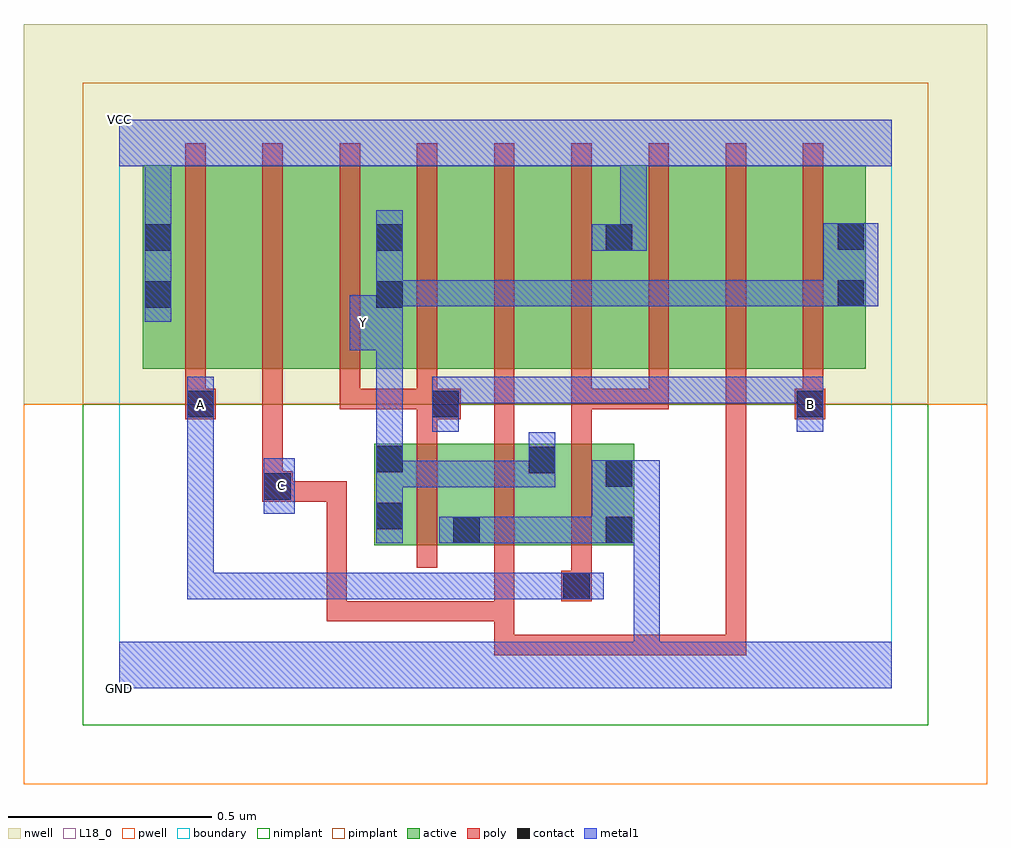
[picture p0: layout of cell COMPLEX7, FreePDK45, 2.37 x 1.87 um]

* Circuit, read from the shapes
.subckt COMPLEX7 A B C GND VCC Y
M1 GND B Y VSUBS nfet w=0.25u l=0.05u
M2 Y C GND VSUBS nfet w=0.25u l=0.05u
M3 GND A Y VSUBS nfet w=0.25u l=0.05u
M4 n1 A VCC n2 pfet w=0.5u l=0.05u
M5 n3 C n1 n2 pfet w=0.5u l=0.05u
M6 Y B n3 n2 pfet w=0.5u l=0.05u
M7 n4 B Y n2 pfet w=0.5u l=0.05u
M8 n5 C n4 n2 pfet w=0.5u l=0.05u
M9 VCC A n5 n2 pfet w=0.5u l=0.05u
M10 n6 A VCC n2 pfet w=0.5u l=0.05u
M11 n7 C n6 n2 pfet w=0.5u l=0.05u
M12 Y B n7 n2 pfet w=0.5u l=0.05u
.ends

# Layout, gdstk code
import gdstk
lib = gdstk.Library(unit=1e-6, precision=1e-09)
def R(c, l, rs):  # rectangles x0, y0, x1, y1
    for r in rs: c.add(gdstk.rectangle(r[:2], r[2:], *l))
def A(c, l, x, y, w, h, nx, ny, dx, dy):  # array of equal rectangles
    R(c, l, [(x+i*dx, y+j*dy, x+i*dx+w, y+j*dy+h) for i in range(nx) for j in range(ny)])
active = (1, 0)
pwell = (2, 0)
nwell = (3, 0)
nimplant = (4, 0)
pimplant = (5, 0)
poly = (9, 0)
contact = (10, 0)
metal1 = (11, 0)
L18_0 = (18, 0)
boundary = (235, 0)

complex7 = lib.new_cell('COMPLEX7')
A(complex7, active, 0.282, 0.787, 0.19, 0.5, 3, 1, 0.57, 0)
R(complex7, active, [(0.627,0.352,0.892,0.602), (0.817,0.352,1.077,0.602), (0.817,0.352,0.892,0.497), (1.002,0.352,1.267,0.602), (1.192,0.352,1.267,0.602), (0.627,0.382,0.702,0.602), (1.002,0.395,1.077,0.6), (0.057,0.787,0.282,1.287), (0.057,0.787,0.132,1.255), (0.472,0.787,0.702,1.287), (0.627,0.787,0.852,1.287), (1.042,0.787,1.267,1.287), (1.192,0.787,1.422,1.287), (1.612,0.787,1.837,1.287), (1.762,0.787,1.837,1.2), (0.627,0.807,0.702,1.2), (1.192,0.807,1.267,1.255)])
R(complex7, pwell, [(-0.235,-0.235,2.135,0.7)])
R(complex7, nwell, [(-0.235,0.7,2.135,1.635)])
R(complex7, nimplant, [(-0.09,-0.09,1.99,0.7)])
R(complex7, pimplant, [(-0.09,0.7,1.99,1.49)])
A(complex7, poly, 0.732, 0.297, 0.05, 0.36, 3, 1, 0.19, 0)
A(complex7, poly, 0.542, 0.687, 0.05, 0.095, 5, 1, 0.19, 0)
A(complex7, poly, 0.922, 0.687, 0.05, 0.05, 3, 1, 0.19, 0)
A(complex7, poly, 0.162, 0.732, 0.05, 0.61, 9, 1, 0.19, 0)
R(complex7, poly, [(0.922,0.082,0.972,0.132), (0.922,0.082,1.087,0.132), (0.922,0.082,0.972,0.215), (1.037,0.082,1.087,0.132), (1.037,0.082,1.22,0.132), (1.17,0.082,1.22,0.132), (1.17,0.082,1.22,0.132), (1.17,0.082,1.22,0.132), (1.17,0.082,1.352,0.132), (1.302,0.082,1.352,0.132), (1.302,0.082,1.352,0.132), (1.302,0.082,1.352,0.132), (1.302,0.082,1.352,0.132), (1.302,0.082,1.352,0.132), (1.302,0.082,1.542,0.132), (1.492,0.082,1.542,0.782), (1.492,0.082,1.542,0.132), (1.492,0.082,1.542,0.132), (1.492,0.082,1.542,0.132), (1.492,0.082,1.542,0.132), (1.492,0.082,1.542,0.132), (1.492,0.082,1.542,0.132), (1.492,0.082,1.542,0.132), (0.51,0.165,0.56,0.215), (0.51,0.165,0.56,0.215), (0.51,0.165,0.56,0.215), (0.51,0.165,0.84,0.215), (0.51,0.165,0.56,0.51), (0.79,0.165,0.84,0.215), (0.79,0.165,0.84,0.215), (0.79,0.165,0.84,0.215), (0.79,0.165,0.972,0.215), (0.922,0.165,0.972,0.215), (0.922,0.165,0.972,0.347), (1.087,0.215,1.162,0.29), (1.112,0.24,1.162,0.347), (0.352,0.46,0.427,0.535), (0.377,0.46,0.427,0.51), (0.377,0.46,0.427,0.51), (0.377,0.46,0.427,0.51), (0.377,0.46,0.427,0.51), (0.377,0.46,0.427,0.51), (0.377,0.46,0.427,0.51), (0.377,0.46,0.56,0.51), (0.51,0.46,0.56,0.51), (0.352,0.485,0.402,0.782), (0.732,0.607,0.782,0.712), (0.922,0.607,0.972,0.737), (1.112,0.607,1.162,0.737), (0.162,0.662,0.237,0.737), (0.732,0.662,0.84,0.737), (1.662,0.662,1.737,0.737), (0.162,0.687,0.212,0.782), (0.542,0.687,0.592,0.737), (0.542,0.687,0.592,0.737), (0.542,0.687,0.592,0.737), (0.542,0.687,0.782,0.737), (1.112,0.687,1.352,0.737), (1.302,0.687,1.352,0.737), (1.302,0.687,1.352,0.737), (1.682,0.687,1.732,0.782)])
R(complex7, contact, [(1.092,0.22,1.157,0.285), (0.822,0.357,0.887,0.422), (1.197,0.357,1.262,0.422), (0.632,0.392,0.697,0.457), (0.357,0.465,0.422,0.53), (1.197,0.497,1.262,0.562), (1.007,0.53,1.072,0.595), (0.632,0.532,0.697,0.597), (0.167,0.667,0.232,0.732), (0.77,0.667,0.835,0.732), (1.667,0.667,1.732,0.732), (0.062,0.937,0.127,1.002), (0.632,0.937,0.697,1.002), (1.767,0.94,1.832,1.005), (0.062,1.077,0.127,1.142), (0.632,1.077,0.697,1.142), (1.197,1.077,1.262,1.142), (1.767,1.08,1.832,1.145)])
R(complex7, metal1, [(0,0,1.9,0.115), (1.265,0.05,1.33,0.422), (0.167,0.22,0.232,0.285), (0.167,0.22,0.422,0.285), (0.167,0.22,0.232,0.697), (0.357,0.22,0.422,0.285), (0.357,0.22,0.422,0.285), (0.357,0.22,0.422,0.285), (0.357,0.22,0.422,0.285), (0.357,0.22,0.422,0.285), (0.357,0.22,0.56,0.285), (0.495,0.22,0.56,0.285), (0.495,0.22,0.56,0.285), (0.495,0.22,0.56,0.285), (0.495,0.22,0.56,0.285), (0.495,0.22,0.56,0.285), (0.495,0.22,0.835,0.285), (0.77,0.22,0.835,0.285), (0.77,0.22,0.835,0.285), (0.77,0.22,0.835,0.285), (0.77,0.22,0.972,0.285), (0.907,0.22,0.972,0.285), (0.907,0.22,1.072,0.285), (1.007,0.22,1.072,0.285), (1.007,0.22,1.122,0.285), (1.057,0.22,1.192,0.285), (0.632,0.357,0.697,0.632), (0.787,0.357,0.922,0.422), (0.857,0.357,0.985,0.422), (0.92,0.357,0.985,0.422), (0.92,0.357,1.072,0.422), (1.007,0.357,1.072,0.422), (1.007,0.357,1.227,0.422), (1.162,0.357,1.227,0.422), (1.162,0.357,1.227,0.422), (1.162,0.357,1.33,0.562), (1.265,0.357,1.33,0.422), (1.265,0.357,1.33,0.422), (1.265,0.357,1.33,0.422), (1.265,0.357,1.33,0.422), (1.265,0.357,1.33,0.422), (1.265,0.357,1.33,0.422), (0.355,0.43,0.432,0.567), (0.632,0.495,0.697,0.56), (0.632,0.495,0.697,0.56), (0.632,0.495,0.935,0.56), (0.87,0.495,0.935,0.56), (0.87,0.495,0.985,0.56), (0.92,0.495,0.985,0.56), (0.92,0.495,1.072,0.56), (1.007,0.495,1.072,0.63), (0.632,0.567,0.697,0.897), (0.167,0.632,0.232,0.697), (0.167,0.632,0.232,0.697), (0.167,0.632,0.232,0.767), (0.77,0.632,0.835,0.767), (1.667,0.632,1.732,0.767), (0.77,0.702,0.935,0.767), (0.87,0.702,0.935,0.767), (0.87,0.702,0.972,0.767), (0.907,0.702,0.972,0.767), (0.907,0.702,1.072,0.767), (1.007,0.702,1.072,0.767), (1.007,0.702,1.122,0.767), (1.057,0.702,1.122,0.767), (1.057,0.702,1.365,0.767), (1.3,0.702,1.365,0.767), (1.3,0.702,1.365,0.767), (1.3,0.702,1.365,0.767), (1.3,0.702,1.522,0.767), (1.457,0.702,1.522,0.767), (1.457,0.702,1.522,0.767), (1.457,0.702,1.522,0.767), (1.457,0.702,1.66,0.767), (1.595,0.702,1.66,0.767), (1.595,0.702,1.732,0.767), (0.567,0.832,0.697,0.967), (0.062,0.902,0.127,1.177), (0.632,0.902,0.697,0.967), (0.632,0.902,0.697,1.177), (0.632,0.94,0.835,1.005), (0.77,0.94,0.835,1.005), (0.77,0.94,0.835,1.005), (0.77,0.94,0.835,1.005), (0.77,0.94,0.985,1.005), (0.92,0.94,0.985,1.005), (0.92,0.94,1.072,1.005), (1.007,0.94,1.072,1.005), (1.007,0.94,1.227,1.005), (1.162,0.94,1.227,1.005), (1.162,0.94,1.385,1.005), (1.32,0.94,1.385,1.005), (1.32,0.94,1.385,1.005), (1.32,0.94,1.385,1.005), (1.32,0.94,1.522,1.005), (1.457,0.94,1.522,1.005), (1.457,0.94,1.522,1.005), (1.457,0.94,1.522,1.005), (1.457,0.94,1.66,1.005), (1.595,0.94,1.66,1.005), (1.595,0.94,1.797,1.005), (1.732,0.94,1.797,1.005), (1.732,0.94,1.797,1.005), (1.732,0.94,1.867,1.145), (1.162,1.077,1.297,1.142), (1.232,1.077,1.297,1.35), (0.062,1.112,0.127,1.35), (0,1.285,1.9,1.4)])
R(complex7, L18_0, [(0,0,1.9,0.115), (1.265,0.05,1.33,0.422), (0.167,0.22,0.232,0.285), (0.167,0.22,0.232,0.697), (0.167,0.22,0.422,0.285), (0.357,0.22,0.422,0.285), (0.357,0.22,0.422,0.285), (0.357,0.22,0.422,0.285), (0.357,0.22,0.422,0.285), (0.357,0.22,0.422,0.285), (0.357,0.22,0.56,0.285), (0.495,0.22,0.56,0.285), (0.495,0.22,0.56,0.285), (0.495,0.22,0.56,0.285), (0.495,0.22,0.56,0.285), (0.495,0.22,0.56,0.285), (0.495,0.22,0.835,0.285), (0.77,0.22,0.835,0.285), (0.77,0.22,0.835,0.285), (0.77,0.22,0.835,0.285), (0.77,0.22,0.972,0.285), (0.907,0.22,0.972,0.285), (0.907,0.22,1.072,0.285), (1.007,0.22,1.072,0.285), (1.007,0.22,1.122,0.285), (1.057,0.22,1.192,0.285), (0.632,0.357,0.697,0.632), (0.787,0.357,0.922,0.422), (0.857,0.357,0.985,0.422), (0.92,0.357,0.985,0.422), (0.92,0.357,1.072,0.422), (1.007,0.357,1.072,0.422), (1.007,0.357,1.227,0.422), (1.162,0.357,1.227,0.422), (1.162,0.357,1.227,0.422), (1.162,0.357,1.33,0.562), (1.265,0.357,1.33,0.422), (1.265,0.357,1.33,0.422), (1.265,0.357,1.33,0.422), (1.265,0.357,1.33,0.422), (1.265,0.357,1.33,0.422), (1.265,0.357,1.33,0.422), (0.355,0.43,0.432,0.567), (0.367,0.467,0.432,0.532), (0.632,0.495,0.697,0.56), (0.632,0.495,0.697,0.56), (0.632,0.495,0.935,0.56), (0.87,0.495,0.935,0.56), (0.87,0.495,0.985,0.56), (0.92,0.495,0.985,0.56), (0.92,0.495,1.072,0.56), (1.007,0.495,1.072,0.63), (0.632,0.567,0.697,0.897), (0.167,0.632,0.232,0.767), (0.167,0.632,0.232,0.697), (0.167,0.632,0.232,0.697), (0.77,0.632,0.835,0.767), (1.667,0.632,1.732,0.767), (0.167,0.667,0.232,0.732), (1.667,0.667,1.732,0.732), (0.77,0.702,0.935,0.767), (0.87,0.702,0.935,0.767), (0.87,0.702,0.972,0.767), (0.907,0.702,0.972,0.767), (0.907,0.702,1.072,0.767), (1.007,0.702,1.072,0.767), (1.007,0.702,1.122,0.767), (1.057,0.702,1.122,0.767), (1.057,0.702,1.365,0.767), (1.3,0.702,1.365,0.767), (1.3,0.702,1.365,0.767), (1.3,0.702,1.365,0.767), (1.3,0.702,1.522,0.767), (1.457,0.702,1.522,0.767), (1.457,0.702,1.522,0.767), (1.457,0.702,1.522,0.767), (1.457,0.702,1.66,0.767), (1.595,0.702,1.66,0.767), (1.595,0.702,1.732,0.767), (0.567,0.832,0.697,0.967), (0.567,0.867,0.632,0.932), (0.062,0.902,0.127,1.177), (0.632,0.902,0.697,1.177), (0.632,0.902,0.697,0.967), (0.632,0.94,0.835,1.005), (0.77,0.94,0.835,1.005), (0.77,0.94,0.835,1.005), (0.77,0.94,0.835,1.005), (0.77,0.94,0.985,1.005), (0.92,0.94,0.985,1.005), (0.92,0.94,1.072,1.005), (1.007,0.94,1.072,1.005), (1.007,0.94,1.227,1.005), (1.162,0.94,1.227,1.005), (1.162,0.94,1.385,1.005), (1.32,0.94,1.385,1.005), (1.32,0.94,1.385,1.005), (1.32,0.94,1.385,1.005), (1.32,0.94,1.522,1.005), (1.457,0.94,1.522,1.005), (1.457,0.94,1.522,1.005), (1.457,0.94,1.522,1.005), (1.457,0.94,1.66,1.005), (1.595,0.94,1.66,1.005), (1.595,0.94,1.797,1.005), (1.732,0.94,1.797,1.005), (1.732,0.94,1.797,1.005), (1.732,0.94,1.867,1.145), (1.162,1.077,1.297,1.142), (1.232,1.077,1.297,1.35), (0.062,1.112,0.127,1.35), (0,1.285,1.9,1.4)])
R(complex7, boundary, [(0,0,1.9,1.4)])
complex7.add(gdstk.Label('A', (0.2,0.7), layer=11, texttype=0))
complex7.add(gdstk.Label('B', (1.7,0.7), layer=11, texttype=0))
complex7.add(gdstk.Label('C', (0.4,0.5), layer=11, texttype=0))
complex7.add(gdstk.Label('Y', (0.6,0.9), layer=11, texttype=0))
complex7.add(gdstk.Label('VCC', (0,1.4), layer=11, texttype=0))
complex7.add(gdstk.Label('GND', (0,0), layer=11, texttype=0))

lib.write_gds('COMPLEX7.gds')
